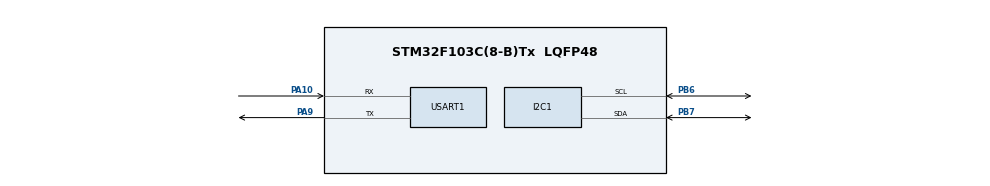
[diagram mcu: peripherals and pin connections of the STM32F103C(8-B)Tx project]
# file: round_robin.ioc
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FREERTOS.Mutexes01=myMutex01,Dynamic,NULL,Available
FREERTOS.Queues01=uartQueue,3,uint8_t8,0,Dynamic,NULL,NULL
FREERTOS.Tasks01=defaultTask,2,512,StartDefaultTask,Default,NULL,Dynamic,NULL,NULL;myTask02,0,512,StartTask02,Default,NULL,Dynamic,NULL,NULL;myTask03,0,512,StartTask03,Default,NULL,Dynamic,NULL,NULL;myTask04,-1,512,StartTask04,Default,NULL,Dynamic,NULL,NULL
FREERTOS.configTOTAL_HEAP_SIZE=10240
FREERTOS.configUSE_NEWLIB_REENTRANT=1
FREERTOS.configUSE_PREEMPTION=1
Mcu.Family=STM32F1
Mcu.Name=STM32F103C(8-B)Tx
Mcu.Package=LQFP48
NVIC.PriorityGroup=NVIC_PRIORITYGROUP_4
NVIC.TIM1_UP_IRQn=true\:15\:0\:false\:false\:true\:false\:false\:true\:true
NVIC.TimeBase=TIM1_UP_IRQn
NVIC.TimeBaseIP=TIM1
NVIC.USART1_IRQn=true\:5\:0\:false\:false\:true\:true\:true\:true\:true
PA10.Mode=Asynchronous
PA10.Signal=USART1_RX
PA13.Mode=Serial_Wire
PA13.Signal=SYS_JTMS-SWDIO
PA14.Mode=Serial_Wire
PA14.Signal=SYS_JTCK-SWCLK
PA9.Mode=Asynchronous
PA9.Signal=USART1_TX
PB6.Mode=I2C
PB6.Signal=I2C1_SCL
PB7.Mode=I2C
PB7.Signal=I2C1_SDA
ProjectManager.HeapSize=0x200
ProjectManager.StackSize=0x400
ProjectManager.TargetToolchain=STM32CubeIDE
RCC.APB1Freq_Value=8000000
RCC.APB2Freq_Value=8000000
USART1.VirtualMode=VM_ASYNC
VP_FREERTOS_VS_CMSIS_V1.Mode=CMSIS_V1
VP_SYS_VS_tim1.Mode=TIM1
board=custom

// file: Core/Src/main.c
/* USER CODE BEGIN Header */
/**
  ******************************************************************************
  * @file           : main.c
  * @brief          : Main program body
  ******************************************************************************
  * @attention
  *
  * Copyright (c) 2025 STMicroelectronics.
  * All rights reserved.
  *
  * This software is licensed under terms that can be found in the LICENSE file
  * in the root directory of this software component.
  * If no LICENSE file comes with this software, it is provided AS-IS.
  *
  ******************************************************************************
  */
/* USER CODE END Header */
#include "main.h"
#include "cmsis_os.h"

/* USER CODE BEGIN Includes */
#include "DHT.h"
#include "lcd_i2c.h"
#include "stdio.h"
/* USER CODE END Includes */

I2C_HandleTypeDef hi2c1;

UART_HandleTypeDef huart1;

osThreadId defaultTaskHandle;
osThreadId myTask02Handle;
osThreadId myTask03Handle;
osThreadId myTask04Handle;
osMessageQId uartQueueHandle;
osMutexId myMutex01Handle;
/* USER CODE BEGIN PV */
DHT_DataTypedef dataGlobal;
/* USER CODE END PV */

void SystemClock_Config(void);
static void MX_GPIO_Init(void);
static void MX_I2C1_Init(void);
static void MX_USART1_UART_Init(void);
void StartDefaultTask(void const * argument);
void StartTask02(void const * argument);
void StartTask03(void const * argument);
void StartTask04(void const * argument);

/* USER CODE BEGIN 0 */
uint8_t rxData;
uint32_t period = 5000;
/* USER CODE END 0 */

int main(void)
{

  /* MCU Configuration--------------------------------------------------------*/

  /* Reset of all peripherals, Initializes the Flash interface and the Systick. */
  HAL_Init();

  /* Configure the system clock */
  SystemClock_Config();

  /* Initialize all configured peripherals */
  MX_GPIO_Init();
  MX_I2C1_Init();
  MX_USART1_UART_Init();
  /* USER CODE BEGIN 2 */
  lcd_init();
  HAL_UART_Receive_IT(&huart1, &rxData, 1);
  /* USER CODE END 2 */

  /* Create the mutex(es) */
  /* definition and creation of myMutex01 */
  osMutexDef(myMutex01);
  myMutex01Handle = osMutexCreate(osMutex(myMutex01));

  /* Create the queue(s) */
  /* definition and creation of uartQueue */
  osMessageQDef(uartQueue, 3, uint8_t);
  uartQueueHandle = osMessageCreate(osMessageQ(uartQueue), NULL);

  /* Create the thread(s) */
  /* definition and creation of defaultTask */
  osThreadDef(defaultTask, StartDefaultTask, osPriorityHigh, 0, 512);
  defaultTaskHandle = osThreadCreate(osThread(defaultTask), NULL);

  /* definition and creation of myTask02 */
  osThreadDef(myTask02, StartTask02, osPriorityNormal, 0, 512);
  myTask02Handle = osThreadCreate(osThread(myTask02), NULL);

  /* definition and creation of myTask03 */
  osThreadDef(myTask03, StartTask03, osPriorityNormal, 0, 512);
  myTask03Handle = osThreadCreate(osThread(myTask03), NULL);

  /* definition and creation of myTask04 */
  osThreadDef(myTask04, StartTask04, osPriorityBelowNormal, 0, 512);
  myTask04Handle = osThreadCreate(osThread(myTask04), NULL);

  /* Start scheduler */
  osKernelStart();

  /* We should never get here as control is now taken by the scheduler */

  /* Infinite loop */
  while (1)
  {

  }
}

void SystemClock_Config(void)
{
  RCC_OscInitTypeDef RCC_OscInitStruct = {0};
  RCC_ClkInitTypeDef RCC_ClkInitStruct = {0};

  /** Initializes the RCC Oscillators according to the specified parameters
  * in the RCC_OscInitTypeDef structure.
  */
  RCC_OscInitStruct.OscillatorType = RCC_OSCILLATORTYPE_HSI;
  RCC_OscInitStruct.HSIState = RCC_HSI_ON;
  RCC_OscInitStruct.HSICalibrationValue = RCC_HSICALIBRATION_DEFAULT;
  RCC_OscInitStruct.PLL.PLLState = RCC_PLL_NONE;
  if (HAL_RCC_OscConfig(&RCC_OscInitStruct) != HAL_OK)
  {
    Error_Handler();
  }

  /** Initializes the CPU, AHB and APB buses clocks
  */
  RCC_ClkInitStruct.ClockType = RCC_CLOCKTYPE_HCLK|RCC_CLOCKTYPE_SYSCLK
                              |RCC_CLOCKTYPE_PCLK1|RCC_CLOCKTYPE_PCLK2;
  RCC_ClkInitStruct.SYSCLKSource = RCC_SYSCLKSOURCE_HSI;
  RCC_ClkInitStruct.AHBCLKDivider = RCC_SYSCLK_DIV1;
  RCC_ClkInitStruct.APB1CLKDivider = RCC_HCLK_DIV1;
  RCC_ClkInitStruct.APB2CLKDivider = RCC_HCLK_DIV1;

  if (HAL_RCC_ClockConfig(&RCC_ClkInitStruct, FLASH_LATENCY_0) != HAL_OK)
  {
    Error_Handler();
  }
}

static void MX_I2C1_Init(void)
{

  hi2c1.Instance = I2C1;
  hi2c1.Init.ClockSpeed = 100000;
  hi2c1.Init.DutyCycle = I2C_DUTYCYCLE_2;
  hi2c1.Init.OwnAddress1 = 0;
  hi2c1.Init.AddressingMode = I2C_ADDRESSINGMODE_7BIT;
  hi2c1.Init.DualAddressMode = I2C_DUALADDRESS_DISABLE;
  hi2c1.Init.OwnAddress2 = 0;
  hi2c1.Init.GeneralCallMode = I2C_GENERALCALL_DISABLE;
  hi2c1.Init.NoStretchMode = I2C_NOSTRETCH_DISABLE;
  if (HAL_I2C_Init(&hi2c1) != HAL_OK)
  {
    Error_Handler();
  }

}

static void MX_USART1_UART_Init(void)
{

  huart1.Instance = USART1;
  huart1.Init.BaudRate = 115200;
  huart1.Init.WordLength = UART_WORDLENGTH_8B;
  huart1.Init.StopBits = UART_STOPBITS_1;
  huart1.Init.Parity = UART_PARITY_NONE;
  huart1.Init.Mode = UART_MODE_TX_RX;
  huart1.Init.HwFlowCtl = UART_HWCONTROL_NONE;
  huart1.Init.OverSampling = UART_OVERSAMPLING_16;
  if (HAL_UART_Init(&huart1) != HAL_OK)
  {
    Error_Handler();
  }

}

static void MX_GPIO_Init(void)
{

  /* GPIO Ports Clock Enable */
  __HAL_RCC_GPIOA_CLK_ENABLE();
  __HAL_RCC_GPIOB_CLK_ENABLE();

}

/* USER CODE BEGIN 4 */
void HAL_UART_RxCpltCallback(UART_HandleTypeDef *huart){
	osMessagePut(uartQueueHandle,(uint8_t)rxData, osWaitForever);
	HAL_UART_Transmit(&huart1,(uint8_t*) "hello", 5, HAL_MAX_DELAY);
	HAL_UART_Receive_IT(&huart1, &rxData, 1);
}
/* USER CODE END 4 */

void StartDefaultTask(void const * argument)
{
  /* USER CODE BEGIN 5 */
  /* Infinite loop */
  for(;;)
  {
	taskENTER_CRITICAL();
	uint32_t t = period;
	DHT_DataTypedef dht;
	DHT_GetData(&dht);
	dataGlobal = dht;
	taskEXIT_CRITICAL();
    osDelay(t);
  }
  /* USER CODE END 5 */
}

void StartTask02(void const * argument)
{
  /* USER CODE BEGIN StartTask02 */
  /* Infinite loop */
  for(;;)
  {
	  //if(osMutexWait(myMutex01Handle, osWaitForever)==osOK){
	  	  uint32_t t = period;
		  char message[100];
		  uint8_t length = snprintf(message, sizeof(message), "Nhiet do: %.2f va Do am: %.2f va Chu ky:%ld\n", dataGlobal.Temperature, dataGlobal.Humidity, t);
		  HAL_UART_Transmit(&huart1, (uint8_t*)message, length, HAL_MAX_DELAY);
		  osMutexRelease(myMutex01Handle);
	  //}
	  osDelay(t);
  }
  /* USER CODE END StartTask02 */
}

void StartTask03(void const * argument)
{
  /* USER CODE BEGIN StartTask03 */

  /* Infinite loop */
	for(;;)
	{
		//if(osMutexWait(myMutex01Handle, osWaitForever)==osOK){
			uint32_t t = period;
			char temp[50];
			char humid[50];
			lcd_put_cur(0,0);
			snprintf(temp,sizeof(temp),"Nhiet do: %.2f",dataGlobal.Temperature);
			snprintf(humid,sizeof(humid),"Do am: %.2f",dataGlobal.Humidity);
			lcd_send_string(temp);
			lcd_put_cur(1,0);
			lcd_send_string(humid);
			osMutexRelease(myMutex01Handle);
		//}
		osDelay(t);
	}
  /* USER CODE END StartTask03 */
}

void StartTask04(void const * argument)
{
  /* USER CODE BEGIN StartTask04 */
  /* Infinite loop */
  for(;;)
  {
	  osEvent evt = osMessageGet(uartQueueHandle, osWaitForever);
	  if(evt.status == osEventMessage){
		  uint8_t receivedData = (uint8_t)(evt.value.v);
		  if (receivedData == '1'){
			  period = 3000;
		  }
		  if (receivedData == '2'){
			  period = 10000;
		  }
	  }
  }
  /* USER CODE END StartTask04 */
}

void HAL_TIM_PeriodElapsedCallback(TIM_HandleTypeDef *htim)
{
  if (htim->Instance == TIM1) {
    HAL_IncTick();
  }
}

void Error_Handler(void)
{
  __disable_irq();
  while (1)
  {
  }
}
